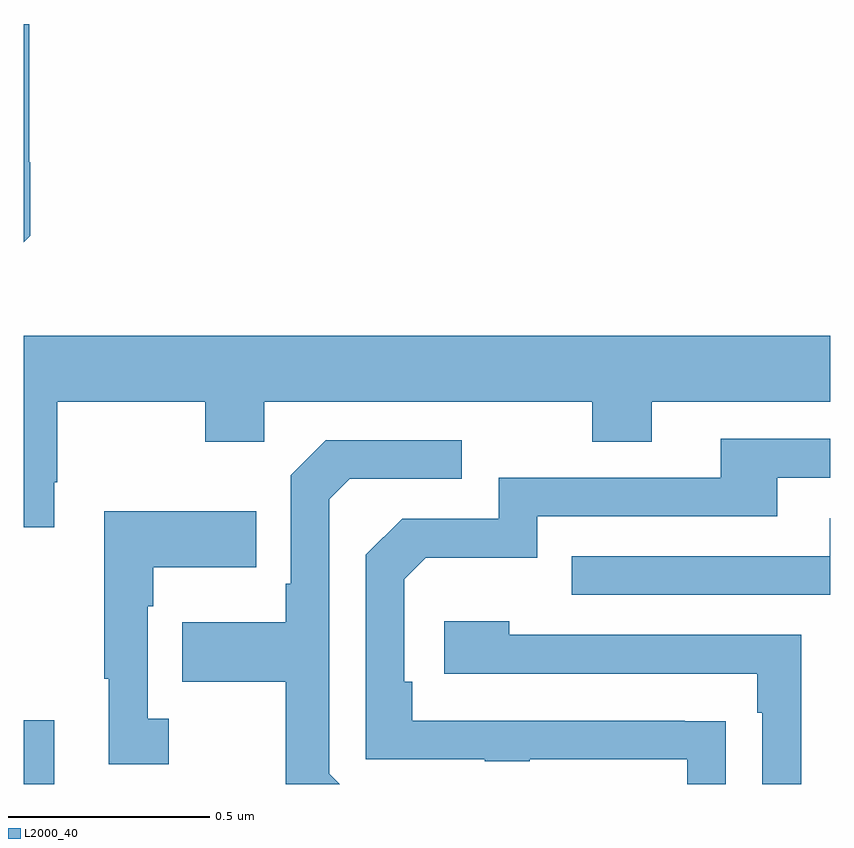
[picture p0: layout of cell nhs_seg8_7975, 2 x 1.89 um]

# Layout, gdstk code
import gdstk
lib = gdstk.Library(unit=1e-6, precision=1e-09)
def R(c, l, rs):  # rectangles x0, y0, x1, y1
    for r in rs: c.add(gdstk.rectangle(r[:2], r[2:], *l))
def P(c, l, *ps):  # polygons
    for p in ps: c.add(gdstk.Polygon(p, *l))
L2000_40 = (2000, 40)

nhs_seg8_7975 = lib.new_cell('nhs_seg8_7975')
R(nhs_seg8_7975, L2000_40, [(217,1100.9,217.075,1101.058)])
P(nhs_seg8_7975, L2000_40, [(217.016,1102.26),(217.016,1102.442),(217.013,1102.442),(217.013,1102.785),(217,1102.785),(217,1102.244)],
  [(217.075,1101.649),(217.083,1101.649),(217.083,1101.848),(217.45,1101.848),(217.45,1101.749),(217.596,1101.749),(217.596,1101.848),(218.41,1101.848),(218.41,1101.749),(218.557,1101.749),(218.557,1101.848),(219,1101.848),(219,1102.012),(217,1102.012),(217,1101.537),(217.075,1101.537)],
  [(218.741,1101.056),(218.639,1101.056),(218.639,1101.057),(217.964,1101.057),(217.964,1101.154),(217.944,1101.154),(217.944,1101.408),(217.997,1101.461),(218.274,1101.461),(218.274,1101.564),(218.869,1101.564),(218.869,1101.66),(219,1101.66),(219,1101.756),(218.729,1101.756),(218.729,1101.66),(218.178,1101.66),(218.178,1101.558),(217.938,1101.558),(217.848,1101.468),(217.848,1100.961),(218.143,1100.961),(218.143,1100.956),(218.255,1100.956),(218.255,1100.961),(218.645,1100.961),(218.645,1100.9),(218.741,1100.9)],
  [(217.758,1100.925),(217.758,1101.606),(217.809,1101.657),(218.086,1101.657),(218.086,1101.753),(217.749,1101.753),(217.662,1101.666),(217.662,1101.397),(217.65,1101.397),(217.65,1101.301),(217.393,1101.301),(217.393,1101.154),(217.65,1101.154),(217.65,1100.9),(217.783,1100.9)],
  [(217.36,1101.062),(217.308,1101.062),(217.308,1101.341),(217.321,1101.341),(217.321,1101.437),(217.577,1101.437),(217.577,1101.577),(217.2,1101.577),(217.2,1101.161),(217.211,1101.161),(217.211,1100.949),(217.36,1100.949)],
  [(219,1101.559),(218.999,1101.559),(218.999,1101.465),(218.359,1101.465),(218.359,1101.369),(219,1101.369)],
  [(218.928,1101.27),(218.204,1101.27),(218.204,1101.304),(218.043,1101.304),(218.043,1101.174),(218.819,1101.174),(218.819,1101.077),(218.832,1101.077),(218.832,1100.9),(218.928,1100.9)])

lib.write_gds('nhs_seg8_7975.gds')
